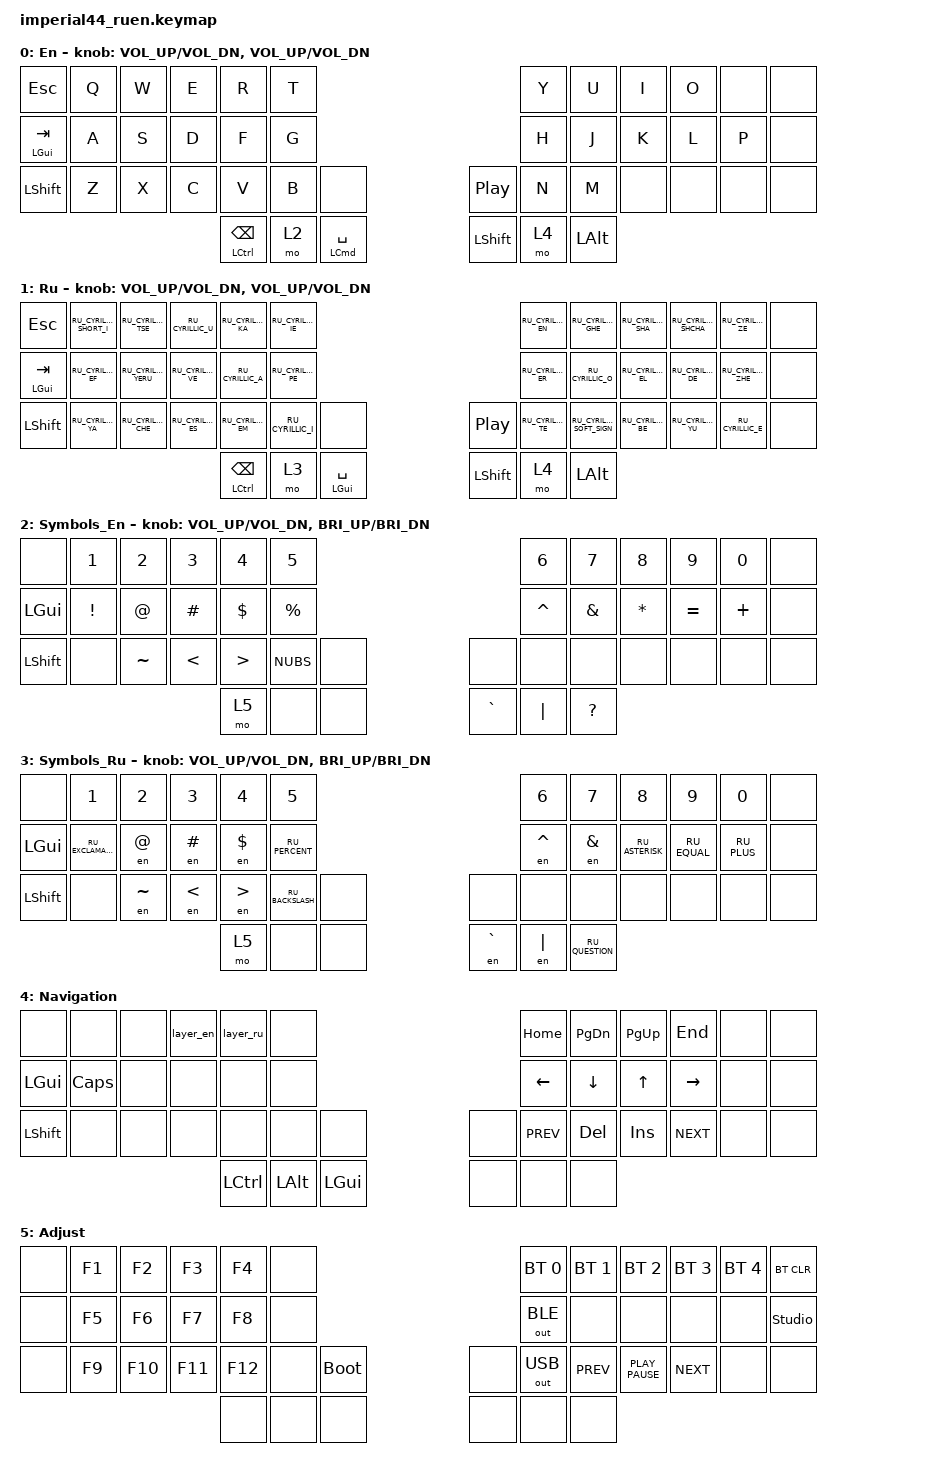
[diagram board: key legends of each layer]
#include "keys_ru.h"
#include <behaviors.dtsi>
#include <dt-bindings/zmk/bt.h>
#include <dt-bindings/zmk/keys.h>
#include <dt-bindings/zmk/outputs.h>

&mt {
    quick-tap-ms = <200>;
    require-prior-idle-ms = <200>;
    flavor = "tap-preferred";
};

/ {
    combos {
        compatible = "zmk,combos";

        left_1 {
            bindings = <&kp LEFT_PARENTHESIS>;
            key-positions = <15 14>;
            layers = <0 2>;
        };

        left_2 {
            bindings = <&kp LEFT_BRACKET>;
            key-positions = <27 26>;
            layers = <0 2>;
        };

        left_3 {
            bindings = <&kp LEFT_BRACE>;
            key-positions = <3 2>;
            layers = <0 2>;
        };

        r_1 {
            bindings = <&kp RIGHT_PARENTHESIS>;
            key-positions = <21 20>;
            layers = <0 2>;
        };

        r_2 {
            bindings = <&kp RIGHT_BRACKET>;
            key-positions = <34 35>;
            layers = <0 2>;
        };

        r_3 {
            bindings = <&kp RIGHT_BRACE>;
            key-positions = <9 8>;
            layers = <0 2>;
        };

        r_one {
            bindings = <&kp SINGLE_QUOTE>;
            key-positions = <4 3>;
            layers = <0 2>;
        };

        l_minus {
            bindings = <&kp MINUS>;
            key-positions = <16 15>;
            layers = <0 2>;
        };

        l_tt {
            bindings = <&kp COLON>;
            key-positions = <32 33>;
            layers = <0 2>;
        };

        r_t {
            bindings = <&kp SEMI>;
            key-positions = <28 27>;
            layers = <0 2>;
        };

        l_ru_1 {
            bindings = <&kp RU_LPAR>;
            key-positions = <15 14>;
            layers = <1 3>;
        };

        l_r_2 {
            bindings = <&en LEFT_BRACKET>;
            key-positions = <27 26>;
            layers = <1 3>;
        };

        l_r_3 {
            bindings = <&en LEFT_BRACE>;
            key-positions = <3 2>;
            layers = <1 3>;
        };

        l_r_mi {
            bindings = <&kp RU_MINUS>;
            key-positions = <16 15>;
            layers = <1 3>;
        };

        l_r_toddot {
            bindings = <&kp RU_COLON>;
            key-positions = <33 32>;
            layers = <1 3>;
        };

        r_ru_1 {
            bindings = <&kp RU_RPAR>;
            key-positions = <20 21>;
            layers = <1 3>;
        };

        r_ru_2 {
            bindings = <&en RIGHT_BRACKET>;
            key-positions = <34 35>;
            layers = <1 3>;
        };

        r_ru_3 {
            bindings = <&en RIGHT_BRACE>;
            key-positions = <8 9>;
            layers = <1 3>;
        };

        r_ru_to_dot {
            bindings = <&kp RU_SEMICOLON>;
            key-positions = <28 27>;
            layers = <1 3>;
        };

        r_ru_sq {
            bindings = <&en SQT>;
            key-positions = <4 3>;
            layers = <1 3>;
        };

        e_ru {
            bindings = <&kp RU_CYRILLIC_IO>;
            key-positions = <14 13>;
            layers = <1 3>;
        };

        slash_eng {
            bindings = <&kp FSLH>;
            key-positions = <29 28>;
            layers = <0 2>;
        };

        slash_ru {
            bindings = <&kp RU_SLASH>;
            key-positions = <29 28>;
            layers = <1 3>;
        };

        dq {
            bindings = <&kp DOUBLE_QUOTES>;
            key-positions = <7 6>;
            layers = <0 2>;
        };

        dbru {
            bindings = <&kp RU_DQT>;
            key-positions = <7 6>;
            layers = <1 3>;
        };

        rlowen {
            bindings = <&kp UNDERSCORE>;
            key-positions = <19 18>;
            layers = <0 2>;
        };

        ruunder {
            bindings = <&kp RU_UNDERSCORE>;
            key-positions = <19 18>;
            layers = <1 3>;
        };

        enter_end_eng {
            bindings = <&kp ENTER>;
            key-positions = <16 17>;
            layers = <0 1 2 3>;
        };

        tg_language {
            bindings = <&layer_ru>;
            key-positions = <4 5>;
            layers = <0 2>;
        };

        tg_eng {
            bindings = <&layer_en>;
            key-positions = <4 5>;
        };

        z_ru {
            bindings = <&kp RU_COMMA>;
            key-positions = <19 20>;
            layers = <1 3>;
        };

        z_en {
            bindings = <&kp COMMA>;
            key-positions = <19 20>;
            layers = <0 2>;
        };

        dot_ru {
            bindings = <&kp RU_DOT>;
            key-positions = <7 8>;
            layers = <1 3>;
        };

        dot_en {
            bindings = <&kp DOT>;
            key-positions = <7 8>;
        };

        h_rus {
            bindings = <&kp RU_CYRILLIC_HA>;
            key-positions = <33 34>;
            layers = <1 3>;
        };

        tt_rus {
            bindings = <&kp RU_CYRILLIC_HARD_SIGN>;
            key-positions = <21 22>;
            layers = <1 3>;
        };
    };

    macros {
        to_ru: to_ru {
            compatible = "zmk,behavior-macro";
            #binding-cells = <0>;
            bindings = <&kp LS(LC(N2))>;
            label = "TO_RU";
            wait-ms = <0>;
            tap-ms = <30>;
        };

        to_en: to_en {
            compatible = "zmk,behavior-macro";
            #binding-cells = <0>;
            bindings = <&kp LS(LC(N1))>;
            label = "TO_EN";
            wait-ms = <0>;
            tap-ms = <30>;
        };

        layer_en: layer_en {
            compatible = "zmk,behavior-macro";
            #binding-cells = <0>;
            bindings = <&to 0 &to_en>;
            label = "LAYER_EN";
            wait-ms = <0>;
            tap-ms = <30>;
        };

        layer_ru: layer_ru {
            compatible = "zmk,behavior-macro";
            #binding-cells = <0>;
            bindings = <&to 1 &to_ru>;
            label = "LAYER_RU";
            tap-ms = <30>;
            wait-ms = <0>;
        };

        en: en {
            compatible = "zmk,behavior-macro-one-param";
            #binding-cells = <1>;
            bindings =
                <&to_en>,
                <&macro_press>,
                <&macro_param_1to1 &kp MACRO_PLACEHOLDER>,
                <&macro_pause_for_release>,
                <&macro_release>,
                <&macro_param_1to1 &kp MACRO_PLACEHOLDER>,
                <&macro_tap>,
                <&to_ru>;

            label = "EN";
            wait-ms = <0>;
            tap-ms = <30>;
        };
    };

    behaviors {
        hml: home_row_mod_left {
            compatible = "zmk,behavior-hold-tap";
            bindings = <&kp>, <&kp>;

            #binding-cells = <2>;
            tapping-term-ms = <280>;
            quick-tap-ms = <175>;
            require-prior-idle-ms = <225>;
            flavor = "balanced";
            hold-trigger-on-release;
            hold-trigger-key-positions = <10 9 8 7 6 18 19 21 22 34 20 35 36 33 32 43 42 41 31 11 23 37>;
        };

        hmr: home_row_mod_right {
            compatible = "zmk,behavior-hold-tap";
            bindings = <&kp>, <&kp>;

            #binding-cells = <2>;
            tapping-term-ms = <280>;
            quick-tap-ms = <175>;
            require-prior-idle-ms = <225>;
            flavor = "balanced";
            hold-trigger-on-release;
            hold-trigger-key-positions = <0 1 2 3 4 5 29 16 17 30 15 14 13 12 24 25 26 27 28 38 39 40>;
        };
    };

    keymap {
        compatible = "zmk,keymap";

        en {
            bindings = <
&kp ESC           &kp Q  &kp W  &kp E  &kp R                &kp T                                              &kp Y  &kp U     &kp I  &kp O  &none  &none
&mt LEFT_GUI TAB  &kp A  &kp S  &kp D  &kp F                &kp G                                              &kp H  &kp J     &kp K  &kp L  &kp P  &none
&kp LSHFT         &kp Z  &kp X  &kp C  &kp V                &kp B  &none                     &kp C_PLAY_PAUSE  &kp N  &kp M     &none  &none  &none  &none
                                       &mt LCTRL BACKSPACE  &mo 2  &mt LEFT_COMMAND SPACE    &kp LEFT_SHIFT    &mo 4  &kp LALT
            >;

            display-name = "En";
            sensor-bindings =
                <&inc_dec_kp C_VOL_UP C_VOL_DN>,
                <&inc_dec_kp C_VOL_UP C_VOL_DN>;
        };

        ru {
            display-name = "Ru";
            bindings = <
&kp ESC           &kp RU_CYRILLIC_SHORT_I  &kp RU_CYRILLIC_TSE   &kp RU_CYRILLIC_U   &kp RU_CYRILLIC_KA   &kp RU_CYRILLIC_IE                                          &kp RU_CYRILLIC_EN  &kp RU_CYRILLIC_GHE        &kp RU_CYRILLIC_SHA  &kp RU_CYRILLIC_SHCHA  &kp RU_CYRILLIC_ZE   &none
&mt LEFT_GUI TAB  &kp RU_CYRILLIC_EF       &kp RU_CYRILLIC_YERU  &kp RU_CYRILLIC_VE  &kp RU_CYRILLIC_A    &kp RU_CYRILLIC_PE                                          &kp RU_CYRILLIC_ER  &kp RU_CYRILLIC_O          &kp RU_CYRILLIC_EL   &kp RU_CYRILLIC_DE     &kp RU_CYRILLIC_ZHE  &none
&kp LSHFT         &kp RU_CYRILLIC_YA       &kp RU_CYRILLIC_CHE   &kp RU_CYRILLIC_ES  &kp RU_CYRILLIC_EM   &kp RU_CYRILLIC_I   &none                 &kp C_PLAY_PAUSE  &kp RU_CYRILLIC_TE  &kp RU_CYRILLIC_SOFT_SIGN  &kp RU_CYRILLIC_BE   &kp RU_CYRILLIC_YU     &kp RU_CYRILLIC_E    &none
                                                                                     &mt LCTRL BACKSPACE  &mo 3               &mt LEFT_GUI SPACE    &kp LEFT_SHIFT    &mo 4               &kp LALT
            >;

            sensor-bindings =
                <&inc_dec_kp C_VOL_UP C_VOL_DN>,
                <&inc_dec_kp C_VOL_UP C_VOL_DN>;
        };

        sym_en {
            bindings = <
&none           &kp N1    &kp N2       &kp N3         &kp N4            &kp N5                           &kp N6     &kp N7         &kp N8     &kp N9     &kp N0    &none
&kp LEFT_GUI    &kp EXCL  &kp AT_SIGN  &kp POUND      &kp DOLLAR        &kp PERCENT                      &kp CARET  &kp AMPERSAND  &kp ASTRK  &kp EQUAL  &kp PLUS  &none
&kp LEFT_SHIFT  &none     &kp TILDE    &kp LESS_THAN  &kp GREATER_THAN  &kp NUBS     &none    &none      &none      &none          &none      &none      &none     &none
                                                      &mo 5             &none        &none    &kp GRAVE  &kp PIPE   &kp QUESTION
            >;

            display-name = "Symbols_En";
            sensor-bindings =
                <&inc_dec_kp C_VOL_UP C_VOL_DN>,
                <&inc_dec_kp C_BRI_UP C_BRI_DN>;
        };

        sym_ru {
            display-name = "Symbols_Ru";
            bindings = <
&none         &kp N1              &kp N2       &kp N3         &kp N4            &kp N5                                &kp N6     &kp N7           &kp N8           &kp N9        &kp N0       &none
&kp LEFT_GUI  &kp RU_EXCLAMATION  &en AT_SIGN  &en HASH       &en DOLLAR        &kp RU_PERCENT                        &en CARET  &en AMPERSAND    &kp RU_ASTERISK  &kp RU_EQUAL  &kp RU_PLUS  &none
&kp LSHIFT    &none               &en TILDE    &en LESS_THAN  &en GREATER_THAN  &kp RU_BACKSLASH  &none    &none      &none      &none            &none            &none         &none        &none
                                                              &mo 5             &none             &none    &en GRAVE  &en PIPE   &kp RU_QUESTION
            >;

            sensor-bindings =
                <&inc_dec_kp C_VOL_UP C_VOL_DN>,
                <&inc_dec_kp C_BRI_UP C_BRI_DN>;
        };

        nav {
            bindings = <
&none           &none     &none  &layer_en  &layer_ru  &none                                &kp HOME        &kp PAGE_DOWN   &kp PG_UP  &kp END          &none  &none
&kp LEFT_GUI    &kp CAPS  &none  &none      &none      &none                                &kp LEFT_ARROW  &kp DOWN_ARROW  &kp UP     &kp RIGHT_ARROW  &none  &none
&kp LEFT_SHIFT  &none     &none  &none      &none      &none         &none           &none  &kp C_PREV      &kp DELETE      &kp INS    &kp C_NEXT       &none  &none
                                            &kp LCTRL  &kp LEFT_ALT  &kp LEFT_GUI    &none  &none           &none
            >;

            display-name = "Navigation";
        };

        adj {
            bindings = <
&none  &kp F1  &kp F2   &kp F3   &kp F4   &none                        &bt BT_SEL 0  &bt BT_SEL 1  &bt BT_SEL 2      &bt BT_SEL 3  &bt BT_SEL 4  &bt BT_CLR
&none  &kp F5  &kp F6   &kp F7   &kp F8   &none                        &out OUT_BLE  &none         &none             &none         &none         &studio_unlock
&none  &kp F9  &kp F10  &kp F11  &kp F12  &none  &bootloader    &none  &out OUT_USB  &kp K_PREV    &kp K_PLAY_PAUSE  &kp K_NEXT    &none         &none
                                 &none    &none  &none          &none  &none         &none
            >;

            display-name = "Adjust";
        };
    };
};
